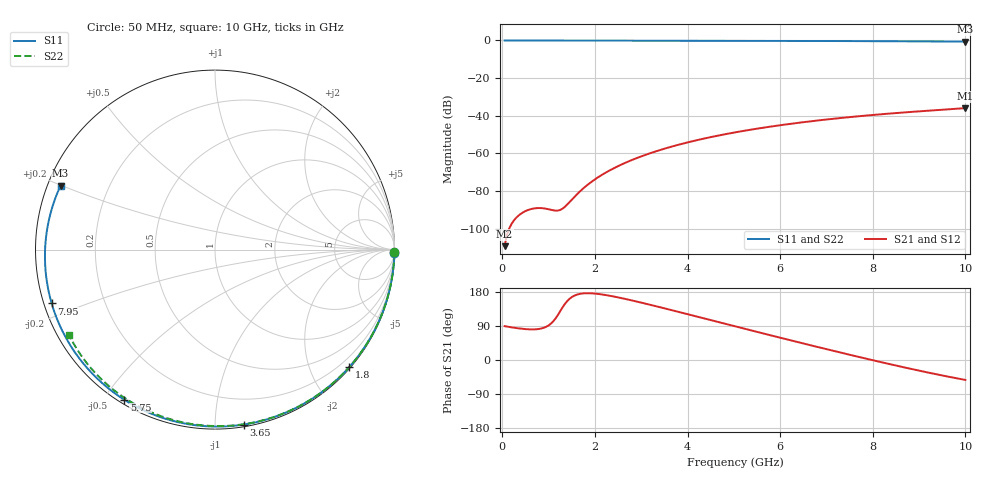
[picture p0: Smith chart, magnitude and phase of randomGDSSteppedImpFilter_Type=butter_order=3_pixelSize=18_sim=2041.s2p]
! freq	dB(S11)	phase(S11)	dB(S12)	phase(S12)
!  dB(S21)	phase(S21)	dB(S22)	phase(S22)
!S-par simulation data
#  GHz  S  DB  R 50
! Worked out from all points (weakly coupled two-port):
!   200 points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, 50 MHz to 10 GHz, reference 50 ohm
!   highest |S21| = -35.99 dB at 10 GHz (marker M1); lowest = -109.4 dB at 50 MHz (marker M2)
!   lowest |S11| = -0.6 dB at 10 GHz (marker M3), VSWR 28.13, Z = 1.85 + j9.94 ohm
!   |S11| at or under -10 dB: nowhere
!   |S22| runs from -0.5 to 0.0 dB; largest |S21 - S12| = 0
!   S11 on the Smith chart (normalised r, x): 50 MHz: 0, -97; 1.8 GHz: 0.02, -2.66; 3.65 GHz: 0.01, -1.18; 5.75 GHz: 0.02, -0.56; 7.95 GHz: 0.02, -0.16; 10 GHz: 0.04, +0.20
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0.05  -0.00 -1.2  -109.39 89.3  -109.39 89.3  -0.00 -0.9
0.4  -0.01 -9.3  -92.17 82.8  -92.17 82.8  -0.01 -6.9
0.8  -0.02 -18.6  -89.12 82.1  -89.12 82.1  -0.02 -13.8
1.2  -0.03 -27.8  -90.46 118.7  -90.46 118.7  -0.03 -20.7
1.65  -0.05 -37.9  -80.89 173.8  -80.89 173.8  -0.04 -28.3
1.7  -0.05 -39.0  -79.74 175.0  -79.74 175.0  -0.04 -29.1
1.75  -0.05 -40.1  -78.64 175.8  -78.64 175.8  -0.04 -30.0
1.8  -0.05 -41.3  -77.59 176.2  -77.59 176.2  -0.04 -30.8
2.1  -0.06 -47.9  -72.25 173.9  -72.25 173.9  -0.05 -35.8
2.45  -0.07 -55.5  -67.43 166.5  -67.43 166.5  -0.05 -41.6
2.9  -0.08 -65.1  -62.58 154.3  -62.58 154.3  -0.06 -48.9
3.4  -0.10 -75.5  -58.32 139.5  -58.32 139.5  -0.08 -56.9
3.65  -0.11 -80.6  -56.50 131.8  -56.50 131.8  -0.08 -60.8
4.35  -0.13 -94.6  -52.20 110.0  -52.20 110.0  -0.10 -71.6
5.05  -0.16 -108.1  -48.77 88.1  -48.77 88.1  -0.13 -82.0
5.75  -0.20 -121.2  -45.97 66.5  -45.97 66.5  -0.15 -92.1
6.7  -0.26 -138.7  -42.87 37.6  -42.87 37.6  -0.20 -105.4
7.35  -0.32 -150.6  -41.12 18.3  -41.12 18.3  -0.25 -114.3
7.95  -0.37 -161.8  -39.73 0.8  -39.73 0.8  -0.29 -122.3
8.35  -0.41 -169.3  -38.90 -10.5  -38.90 -10.5  -0.33 -127.6
9.2  -0.51 174.1  -37.35 -33.3  -37.35 -33.3  -0.41 -139.0
10  -0.62 157.5  -35.99 -52.6  -35.99 -52.6  -0.52 -149.8
